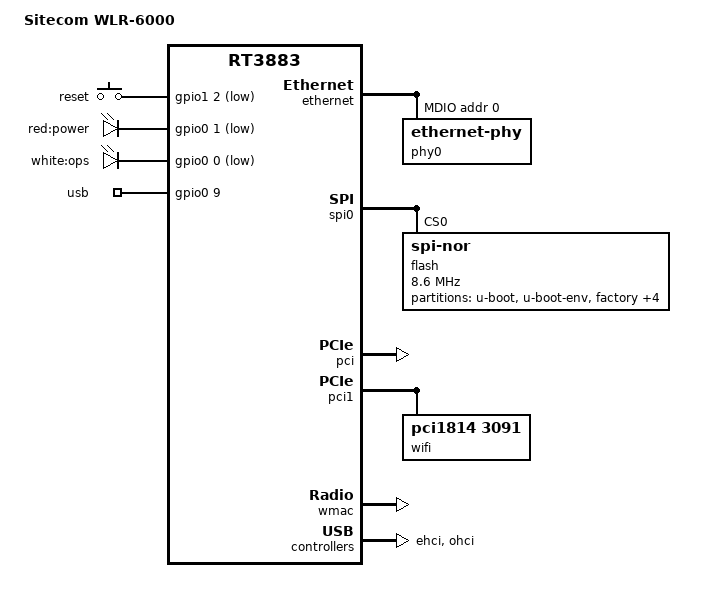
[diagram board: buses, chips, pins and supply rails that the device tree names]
#include "rt3883.dtsi"

#include <dt-bindings/gpio/gpio.h>
#include <dt-bindings/input/input.h>

/ {
	compatible = "sitecom,wlr-6000", "ralink,rt3883-soc";
	model = "Sitecom WLR-6000";

	aliases {
		led-boot = &led_power;
		led-failsafe = &led_power;
		led-running = &led_power;
		led-upgrade = &led_power;
	};

	keys {
		compatible = "gpio-keys-polled";
		poll-interval = <20>;

		reset {
			label = "reset";
			gpios = <&gpio1 2 GPIO_ACTIVE_LOW>;
			linux,code = <KEY_RESTART>;
		};
	};

	leds {
		compatible = "gpio-leds";

		led_power: power {
			label = "red:power";
			gpios = <&gpio0 1 GPIO_ACTIVE_LOW>;
		};

		ops {
			label = "white:ops";
			gpios = <&gpio0 0 GPIO_ACTIVE_LOW>;
		};
	};

	gpio_export {
		compatible = "gpio-export";
		#size-cells = <0>;

		usb {
			gpio-export,name = "usb";
			gpio-export,output = <1>;
			gpios = <&gpio0 9 GPIO_ACTIVE_HIGH>;
		};
	};
};

&gpio1 {
	status = "okay";
};

&state_default {
	gpio {
		groups = "i2c", "jtag", "uartf";
		function = "gpio";
	};
};

&ethernet {
	status = "okay";
	nvmem-cells = <&macaddr_factory_8004>;
	nvmem-cell-names = "mac-address";
	mac-address-increment = <1>;

	port@0 {
		phy-handle = <&phy0>;
		phy-mode = "rgmii";
	};

	mdio-bus {
		status = "okay";

		phy0: ethernet-phy@0 {
			reg = <0>;
			phy-mode = "rgmii";

			qca,ar8327-initvals = <
				0x04 0x07600000 /* PORT0 PAD MODE CTRL */
				0x0c 0x07600000 /* PORT6 PAD MODE CTRL */
				0x10 0x40000000 /* Power-on Strapping: 176-pin interface configuration */
				0x50 0xc437c437 /* LED Control Register 0 */
				0x54 0xc337c337 /* LED Control Register 1 */
				0x58 0x00000000 /* LED Control Register 2 */
				0x5c 0x03ffff00 /* LED Control Register 3 */
				0x7c 0x0000007e /* PORT0_STATUS */
				0x94 0x0000007e /* PORT6 STATUS */
			>;
		};
	};
};

&spi0 {
	status = "okay";

	flash@0 {
		compatible = "jedec,spi-nor";
		reg = <0>;
		spi-max-frequency = <8600000>;
		m25p,fast-read;

		partitions {
			compatible = "fixed-partitions";
			#address-cells = <1>;
			#size-cells = <1>;

			partition@0 {
				label = "u-boot";
				reg = <0x0 0x30000>;
				read-only;
			};

			partition@30000 {
				label = "u-boot-env";
				reg = <0x30000 0x10000>;
				read-only;
			};

			factory: partition@40000 {
				label = "factory";
				reg = <0x40000 0x10000>;
				read-only;
			};

			partition@50000 {
				compatible = "denx,uimage";
				label = "firmware";
				reg = <0x50000 0x713000>;
			};

			partition@763000 {
				label = "manufacture";
				reg = <0x763000 0x7D000>;
				read-only;
			};

			partition@7E0000 {
				label = "backup";
				reg = <0x7E0000 0x10000>;
				read-only;
			};

			partition@7F0000 {
				label = "storage";
				reg = <0x7F0000 0x10000>;
				read-only;
			};
		};
	};
};

&pci {
	status = "okay";
};

&pci1 {
	status = "okay";

	wifi@0,0 {
		compatible = "pci1814,3091";
		reg = <0x10000 0 0 0 0>;
		ralink,mtd-eeprom = <&factory 0x8000>;
	};
};

&wmac {
	status = "okay";
	ralink,2ghz = <0>;
	ralink,mtd-eeprom = <&factory 0x0>;
};

&ehci {
	status = "okay";
};

&ohci {
	status = "okay";
};

&factory {
	compatible = "nvmem-cells";
	#address-cells = <1>;
	#size-cells = <1>;

	macaddr_factory_8004: macaddr@8004 {
		reg = <0x8004 0x6>;
	};
};
